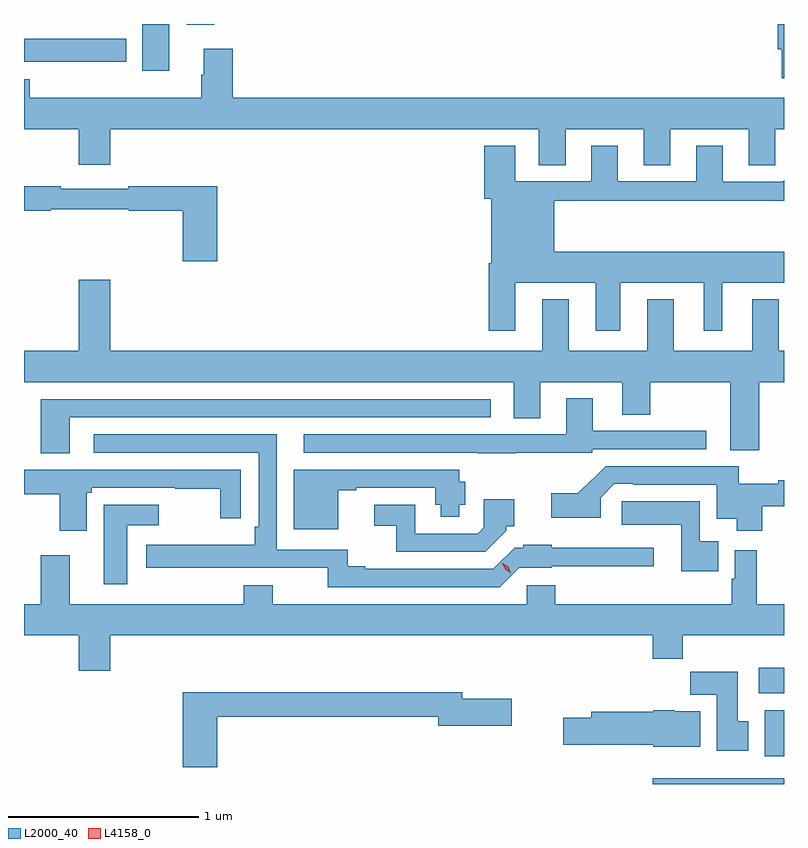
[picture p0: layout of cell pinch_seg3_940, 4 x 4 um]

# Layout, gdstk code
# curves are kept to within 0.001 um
import gdstk
lib = gdstk.Library(unit=1e-6, precision=1e-09)
def R(c, l, rs):  # rectangles x0, y0, x1, y1
    for r in rs: c.add(gdstk.rectangle(r[:2], r[2:], *l))
def P(c, l, *ps):  # polygons
    for p in ps: c.add(gdstk.Polygon(p, *l))
L2000_40 = (2000, 40)
L4158_0 = (4158, 0)

pinch_seg3_940 = lib.new_cell('pinch_seg3_940')
R(pinch_seg3_940, L2000_40, [(599.597,717.449,600.287,717.478), (600.185,717.596,600.287,717.838), (600.153,717.926,600.287,718.06), (596.909,721.202,597.052,721.449), (596.287,721.25,596.824,721.372), (597.143,721.446,597.287,721.449)])
P(pinch_seg3_940, L2000_40, [(600.287,721.449),(600.253,721.449),(600.253,721.317),(600.275,721.317),(600.275,721.164),(600.287,721.164)],
  [(599.137,720.896),(599.549,720.896),(599.549,720.706),(599.689,720.706),(599.689,720.896),(600.101,720.896),(600.101,720.706),(600.24,720.706),(600.24,720.896),(600.287,720.896),(600.287,721.06),(597.386,721.06),(597.386,721.318),(597.233,721.318),(597.233,721.181),(597.221,721.181),(597.221,721.06),(596.318,721.06),(596.318,721.159),(596.287,721.159),(596.287,720.896),(596.576,720.896),(596.576,720.708),(596.74,720.708),(596.74,720.896),(598.997,720.896),(598.997,720.706),(599.137,720.706)],
  [(598.873,720.086),(599.297,720.086),(599.297,719.835),(599.425,719.835),(599.425,720.086),(599.864,720.086),(599.864,719.835),(599.962,719.835),(599.962,720.086),(600.287,720.086),(600.287,720.25),(599.077,720.25),(599.077,720.52),(600.061,720.52),(600.061,720.518),(600.287,720.518),(600.287,720.626),(600.279,720.618),(599.965,720.618),(599.965,720.808),(599.825,720.808),(599.825,720.621),(599.413,720.621),(599.413,720.808),(599.273,720.808),(599.273,720.621),(598.873,720.621),(598.873,720.808),(598.709,720.808),(598.709,720.528),(598.745,720.528),(598.745,720.19),(598.733,720.19),(598.733,719.835),(598.873,719.835)],
  [(597.305,720.595),(596.836,720.595),(596.836,720.582),(596.48,720.582),(596.48,720.595),(596.287,720.595),(596.287,720.466),(596.429,720.466),(596.429,720.474),(596.838,720.474),(596.838,720.466),(597.122,720.466),(597.122,720.201),(597.305,720.201)],
  [(600.158,719.564),(600.287,719.564),(600.287,719.728),(600.259,719.728),(600.259,720.001),(600.119,720.001),(600.119,719.728),(599.707,719.728),(599.707,720.001),(599.567,720.001),(599.567,719.728),(599.155,719.728),(599.155,720.001),(599.015,720.001),(599.015,719.728),(596.74,719.728),(596.74,720.103),(596.576,720.103),(596.576,719.728),(596.287,719.728),(596.287,719.564),(598.865,719.564),(598.865,719.374),(599.005,719.374),(599.005,719.564),(599.435,719.564),(599.435,719.392),(599.583,719.392),(599.583,719.564),(600.005,719.564),(600.005,719.206),(600.158,719.206)],
  [(598.877,719.192),(599.277,719.192),(599.277,719.211),(599.878,719.211),(599.878,719.307),(599.281,719.307),(599.281,719.479),(599.141,719.479),(599.141,719.289),(597.759,719.289),(597.759,719.193),(598.675,719.193),(598.675,719.191),(598.877,719.191)],
  [(596.527,719.379),(598.744,719.379),(598.744,719.475),(596.375,719.475),(596.375,719.189),(596.527,719.189)],
  [(598.893,718.587),(599.064,718.587),(599.064,718.595),(599.602,718.595),(599.602,718.692),(599.064,718.693),(599.064,718.708),(598.914,718.708),(598.914,718.692),(598.869,718.692),(598.758,718.581),(598.084,718.581),(598.084,718.594),(597.992,718.594),(597.992,718.683),(597.618,718.683),(597.618,719.289),(596.655,719.289),(596.655,719.193),(597.522,719.193),(597.522,718.804),(597.502,718.804),(597.502,718.708),(596.931,718.708),(596.931,718.586),(597.886,718.586),(597.886,718.485),(598.791,718.485)],
  [(600.173,718.912),(600.287,718.912),(600.287,719.048),(600.256,719.048),(600.256,719.028),(600.05,719.028),(600.05,719.121),(599.348,719.121),(599.275,719.048),(599.274,719.05),(599.202,718.978),(599.061,718.978),(599.061,718.85),(599.322,718.85),(599.322,718.956),(599.394,719.028),(599.494,719.028),(599.494,719.025),(599.934,719.025),(599.934,718.844),(600.038,718.844),(600.038,718.782),(600.173,718.782)],
  [(596.617,718.982),(596.643,718.982),(596.643,719.007),(597.082,719.007),(597.082,719.002),(597.321,719.002),(597.321,718.848),(597.429,718.848),(597.429,719.103),(596.523,719.103),(596.523,719.104),(596.287,719.104),(596.287,718.975),(596.474,718.975),(596.474,718.782),(596.617,718.782)],
  [(597.94,718.995),(598.036,718.995),(598.036,719.007),(598.451,719.007),(598.451,718.919),(598.481,718.919),(598.481,718.856),(598.579,718.856),(598.579,718.919),(598.609,718.919),(598.609,719.041),(598.579,719.041),(598.579,719.103),(597.707,719.103),(597.707,718.79),(597.94,718.79)],
  [(598.824,718.781),(598.824,718.805),(598.867,718.805),(598.867,718.948),(598.707,718.948),(598.707,718.799),(598.675,718.767),(598.347,718.767),(598.347,718.918),(598.131,718.918),(598.131,718.808),(598.246,718.808),(598.246,718.671),(598.714,718.671)],
  [(599.942,718.726),(599.844,718.726),(599.844,718.936),(599.433,718.936),(599.433,718.814),(599.747,718.814),(599.747,718.569),(599.942,718.569)],
  [(596.83,718.811),(596.995,718.811),(596.995,718.918),(596.708,718.918),(596.708,718.5),(596.83,718.5)],
  [(596.74,718.232),(599.597,718.232),(599.597,718.108),(599.753,718.108),(599.753,718.232),(600.287,718.232),(600.287,718.396),(600.143,718.396),(600.143,718.678),(600.027,718.678),(600.027,718.529),(600.012,718.529),(600.012,718.396),(599.084,718.396),(599.084,718.494),(598.932,718.494),(598.932,718.396),(597.595,718.396),(597.595,718.495),(597.443,718.495),(597.443,718.396),(596.527,718.396),(596.527,718.654),(596.375,718.654),(596.375,718.396),(596.287,718.396),(596.287,718.232),(596.576,718.232),(596.576,718.044),(596.74,718.044)],
  [(600.1,717.78),(600.043,717.78),(600.043,718.039),(599.794,718.039),(599.794,717.92),(599.933,717.92),(599.933,717.624),(600.1,717.624)],
  [(597.305,717.802),(598.466,717.802),(598.466,717.755),(598.855,717.755),(598.855,717.897),(598.594,717.897),(598.594,717.931),(597.122,717.931),(597.122,717.537),(597.305,717.537)],
  [(599.845,717.832),(599.712,717.832),(599.712,717.838),(599.598,717.838),(599.598,717.828),(599.273,717.828),(599.273,717.798),(599.124,717.798),(599.124,717.656),(599.598,717.656),(599.598,717.644),(599.845,717.644)])
P(pinch_seg3_940, L4158_0, [(598.85,718.559),(598.82,718.58),(598.805,718.614),(598.805,718.614),(598.805,718.614),(598.835,718.593),(598.85,718.559),(598.85,718.559)])

lib.write_gds('pinch_seg3_940.gds')
